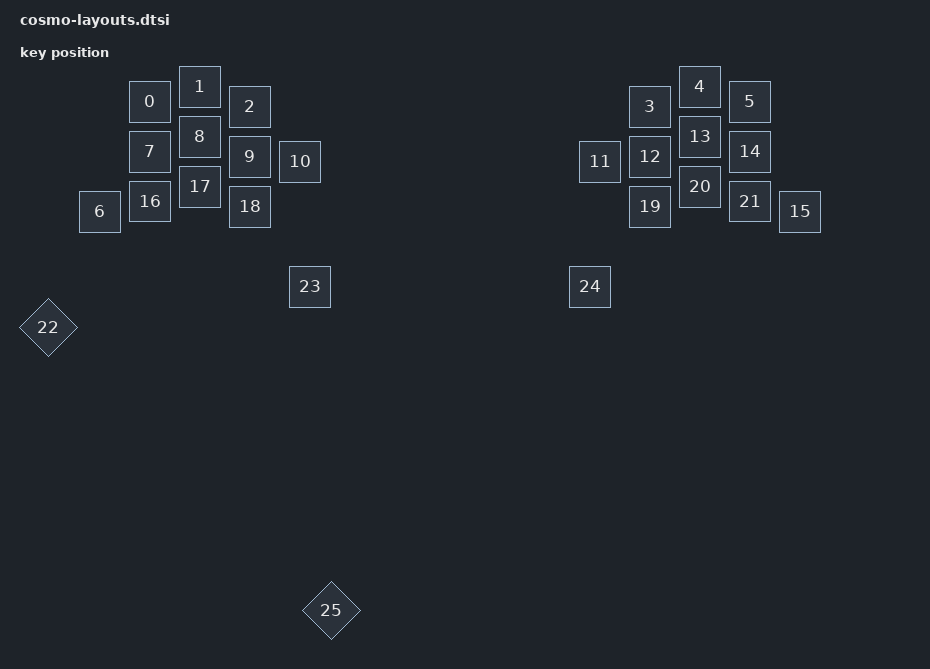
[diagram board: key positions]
// See https://zmk.dev/docs/development/hardware-integration/physical-layouts
// for how to configure this.

#include <physical_layouts.dtsi>

/ {
    default_layout: default_layout {
        compatible = "zmk,physical-layout";
        display-name = "Default Layout";
        transform = <&default_transform>;
        kscan = <&kscan>;

        // https://zmk.dev/docs/development/hardware-integration/physical-layouts#optional-keys-property
        keys  //                   w   h    x    y     rot    rx    ry
            = <&key_physical_attrs 90 90  100   30       0     0     0>
            , <&key_physical_attrs 90 90  200    0       0     0     0>
            , <&key_physical_attrs 90 90  300   40       0     0     0>

            , <&key_physical_attrs 90 90 1100   40       0     0     0>
            , <&key_physical_attrs 90 90 1200    0       0     0     0>
            , <&key_physical_attrs 90 90 1300   30       0     0     0>


            , <&key_physical_attrs 90 90    0  250       0     0     0>
            , <&key_physical_attrs 90 90  100  130       0     0     0>
            , <&key_physical_attrs 90 90  200  100       0     0     0>
            , <&key_physical_attrs 90 90  300  140       0     0     0>
            , <&key_physical_attrs 90 90  400  150       0     0     0>

            , <&key_physical_attrs 90 90 1000  150       0     0     0>
            , <&key_physical_attrs 90 90 1100  140       0     0     0>
            , <&key_physical_attrs 90 90 1200  100       0     0     0>
            , <&key_physical_attrs 90 90 1300  130       0     0     0>
            , <&key_physical_attrs 90 90 1400  250       0     0     0>


            , <&key_physical_attrs 90 90  100  230       0     0     0>
            , <&key_physical_attrs 90 90  200  200       0     0     0>
            , <&key_physical_attrs 90 90  300  240       0     0     0>

            , <&key_physical_attrs 90 90 1100  240       0     0     0>
            , <&key_physical_attrs 90 90 1200  200       0     0     0>
            , <&key_physical_attrs 90 90 1300  230       0     0     0>

            , <&key_physical_attrs 90 90  300  400       4500     45     0>
            , <&key_physical_attrs 90 90  420  400       0     0     0>
            , <&key_physical_attrs 90 90  980  400       0     0     0>
            , <&key_physical_attrs 90 90 1100  400       4500     45     0>
            ;
    };
};
